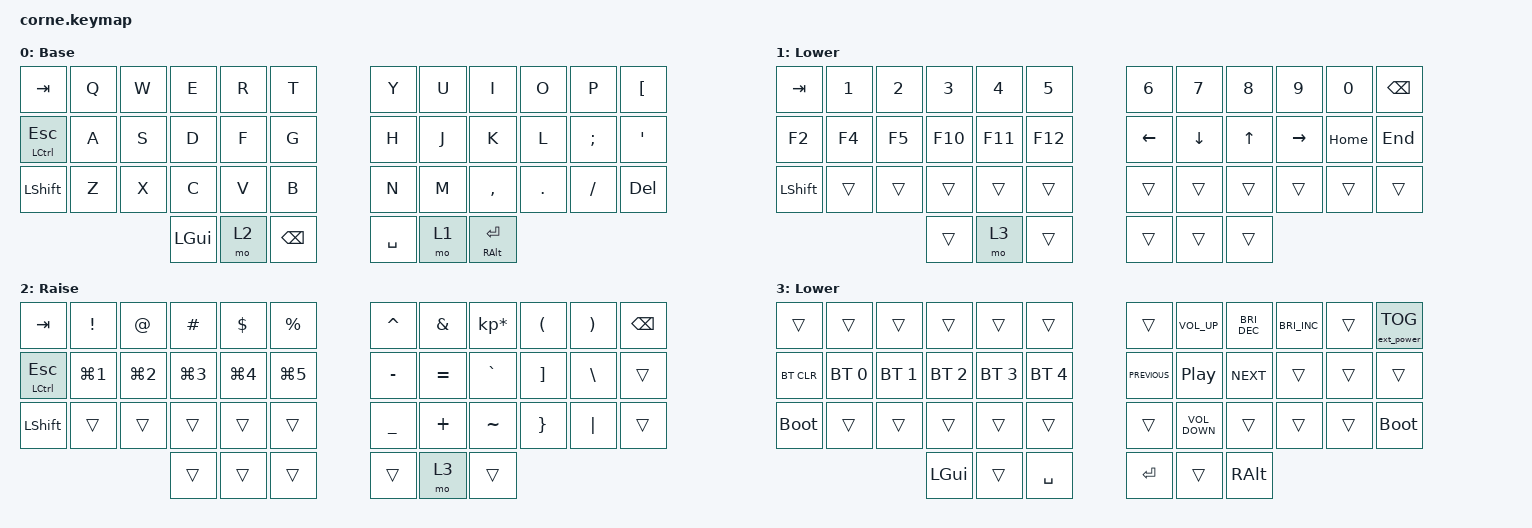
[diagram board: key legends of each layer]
/*
 * Copyright (c) 2020 The ZMK Contributors
 *
 * SPDX-License-Identifier: MIT
 */

#include <behaviors.dtsi>
#include <dt-bindings/zmk/bt.h>
#include <dt-bindings/zmk/ext_power.h>
#include <dt-bindings/zmk/keys.h>

/ {
    combos {
        compatible = "zmk,combos";

        thirdLayer {
            bindings = <&mo 0>;
            key-positions = <37 40>;
        };
    };

    keymap {
        compatible = "zmk,keymap";

        default_layer {
            // -----------------------------------------------------------------------------------------
            // |  TAB |  Q  |  W  |  E  |  R  |  T  |   |  Y  |  U   |  I  |  O  |  P  | BKSP |
            // | CTRL |  A  |  S  |  D  |  F  |  G  |   |  H  |  J   |  K  |  L  |  ;  |  '   |
            // | SHFT |  Z  |  X  |  C  |  V  |  B  |   |  N  |  M   |  ,  |  .  |  /  | ESC  |
            //                    | GUI | LWR | SPC |   | ENT | RSE  | ALT |

            display-name = "Base";
            bindings = <
&kp TAB           &kp Q  &kp W  &kp E     &kp R  &kp T            &kp Y      &kp U  &kp I                &kp O    &kp P          &kp LEFT_BRACKET
&mt LCTRL ESCAPE  &kp A  &kp S  &kp D     &kp F  &kp G            &kp H      &kp J  &kp K                &kp L    &kp SEMICOLON  &kp SQT
&kp LEFT_SHIFT    &kp Z  &kp X  &kp C     &kp V  &kp B            &kp N      &kp M  &kp COMMA            &kp DOT  &kp SLASH      &kp DELETE
                                &kp LGUI  &mo 2  &kp BACKSPACE    &kp SPACE  &mo 1  &mt RIGHT_ALT ENTER
            >;
        };

        nav_num {
            // -----------------------------------------------------------------------------------------
            // |  TAB |  1  |  2  |  3  |  4  |  5  |   |  6  |  7  |  8  |  9  |  0  | BKSP |
            // | BTCLR| BT1 | BT2 | BT3 | BT4 | BT5 |   | LFT | DWN |  UP | RGT |     |      |
            // | SHFT |     |     |     |     |     |   |     |     |     |     |     |      |
            //                    | GUI |     | SPC |   | ENT |     | ALT |

            display-name = "Lower";
            bindings = <
&kp TAB         &kp N1  &kp N2  &kp N3   &kp N4   &kp N5     &kp N6    &kp N7    &kp N8  &kp N9     &kp N0    &kp BSPC
&kp F2          &kp F4  &kp F5  &kp F10  &kp F11  &kp F12    &kp LEFT  &kp DOWN  &kp UP  &kp RIGHT  &kp HOME  &kp END
&kp LEFT_SHIFT  &trans  &trans  &trans   &trans   &trans     &trans    &trans    &trans  &trans     &trans    &trans
                                &trans   &mo 3    &trans     &trans    &trans    &trans
            >;
        };

        symbols {
            // -----------------------------------------------------------------------------------------
            // |  TAB |  !  |  @  |  #  |  $  |  %  |   |  ^  |  &  |  *  |  (  |  )  | BKSP |
            // | CTRL |     |     |     |     |     |   |  -  |  =  |  [  |  ]  |  \  |  `   |
            // | SHFT |     |     |     |     |     |   |  _  |  +  |  {  |  }  | "|" |  ~   |
            //                    | GUI |     | SPC |   | ENT |     | ALT |

            display-name = "Raise";
            bindings = <
&kp TAB           &kp EXCL          &kp AT            &kp HASH          &kp DLLR          &kp PRCNT     &kp CARET  &kp AMPS   &kp KP_MULTIPLY  &kp LPAR           &kp RPAR       &kp BSPC
&mt LCTRL ESCAPE  &kp LG(NUMBER_1)  &kp LG(NUMBER_2)  &kp LG(NUMBER_3)  &kp LG(NUMBER_4)  &kp LG(N5)    &kp MINUS  &kp EQUAL  &kp GRAVE        &kp RIGHT_BRACKET  &kp BACKSLASH  &trans
&kp LEFT_SHIFT    &trans            &trans            &trans            &trans            &trans        &kp UNDER  &kp PLUS   &kp TILDE        &kp RIGHT_BRACE    &kp PIPE       &trans
                                                      &trans            &trans            &trans        &trans     &mo 3      &trans
            >;
        };

        settings {
            display-name = "Lower";
            bindings = <
&trans       &trans        &trans        &trans        &trans        &trans          &trans          &kp C_VOLUME_UP    &kp C_BRIGHTNESS_DEC  &kp C_BRIGHTNESS_INC  &trans  &ext_power EP_TOG
&bt BT_CLR   &bt BT_SEL 0  &bt BT_SEL 1  &bt BT_SEL 2  &bt BT_SEL 3  &bt BT_SEL 4    &kp C_PREVIOUS  &kp C_PLAY_PAUSE   &kp C_NEXT            &trans                &trans  &trans
&bootloader  &trans        &trans        &trans        &trans        &trans          &trans          &kp C_VOLUME_DOWN  &trans                &trans                &trans  &bootloader
                                         &kp LGUI      &trans        &kp SPACE       &kp RET         &trans             &kp RALT
            >;
        };
    };
};
